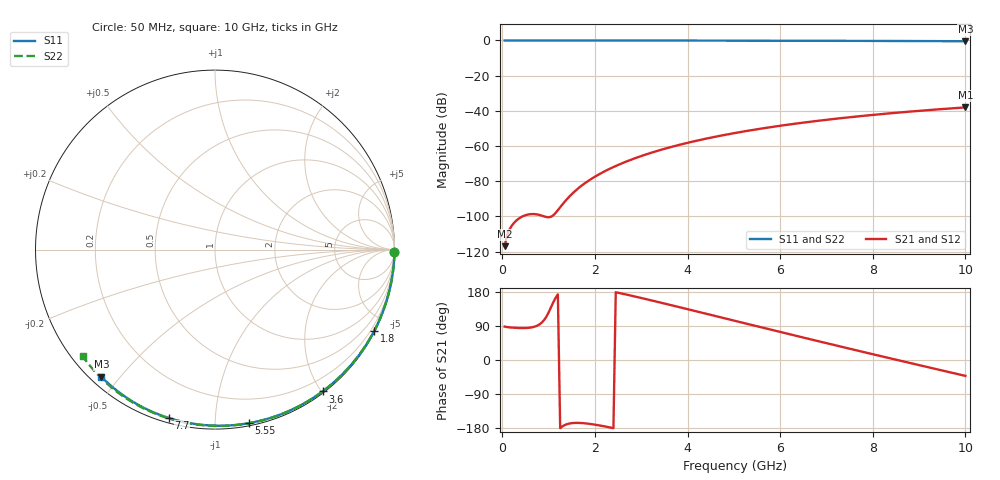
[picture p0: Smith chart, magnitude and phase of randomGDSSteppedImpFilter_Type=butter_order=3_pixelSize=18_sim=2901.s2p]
! freq	dB(S11)	phase(S11)	dB(S12)	phase(S12)
!  dB(S21)	phase(S21)	dB(S22)	phase(S22)
!S-par simulation data
#  GHz  S  DB  R 50
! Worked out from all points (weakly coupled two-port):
!   200 points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, 50 MHz to 10 GHz, reference 50 ohm
!   highest |S21| = -38.06 dB at 10 GHz (marker M1); lowest = -116.9 dB at 50 MHz (marker M2)
!   lowest |S11| = -0.4 dB at 10 GHz (marker M3), VSWR 39.12, Z = 1.53 - j22.4 ohm
!   |S11| at or under -10 dB: nowhere
!   |S22| runs from -0.5 to 0.0 dB; largest |S21 - S12| = 0
!   S11 on the Smith chart (normalised r, x): 50 MHz: open; 1.8 GHz: 0.04, -4.16; 3.6 GHz: 0.02, -2.01; 5.55 GHz: 0.02, -1.22; 7.7 GHz: 0.02, -0.76; 10 GHz: 0.03, -0.45
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0.05  -0.00 -0.8  -116.95 88.2  -116.95 88.2  -0.00 -0.8
0.45  -0.01 -6.9  -99.86 84.2  -99.86 84.2  -0.01 -7.3
0.9  -0.02 -13.6  -99.99 105.0  -99.99 105.0  -0.02 -14.6
1.75  -0.03 -26.3  -81.80 -166.7  -81.80 -166.7  -0.04 -28.1
1.8  -0.03 -27.0  -80.85 -167.3  -80.85 -167.3  -0.04 -28.9
1.85  -0.04 -27.7  -79.95 -168.0  -79.95 -168.0  -0.04 -29.7
2  -0.04 -29.9  -77.45 -170.6  -77.45 -170.6  -0.04 -32.1
2.15  -0.04 -32.1  -75.22 -173.8  -75.22 -173.8  -0.04 -34.4
2.35  -0.04 -35.0  -72.57 -178.6  -72.57 -178.6  -0.05 -37.5
2.55  -0.05 -37.9  -70.21 176.2  -70.21 176.2  -0.05 -40.6
2.95  -0.06 -43.7  -66.16 165.1  -66.16 165.1  -0.06 -46.7
3.4  -0.07 -50.0  -62.37 152.0  -62.37 152.0  -0.07 -53.5
3.6  -0.07 -52.8  -60.88 146.1  -60.88 146.1  -0.08 -56.5
4.3  -0.09 -62.4  -56.39 125.2  -56.39 125.2  -0.09 -66.7
5.05  -0.11 -72.4  -52.49 102.6  -52.49 102.6  -0.12 -77.3
5.55  -0.13 -78.9  -50.28 87.5  -50.28 87.5  -0.14 -84.2
6.1  -0.15 -85.8  -48.12 71.1  -48.12 71.1  -0.16 -91.6
6.7  -0.18 -93.3  -46.05 53.3  -46.05 53.3  -0.19 -99.6
7.7  -0.24 -105.3  -43.11 23.9  -43.11 23.9  -0.26 -112.4
8.35  -0.29 -112.9  -41.47 5.1  -41.47 5.1  -0.31 -120.6
9.2  -0.36 -122.7  -39.59 -19.2  -39.59 -19.2  -0.39 -131.2
10  -0.44 -131.8  -38.06 -41.9  -38.06 -41.9  -0.47 -141.1
